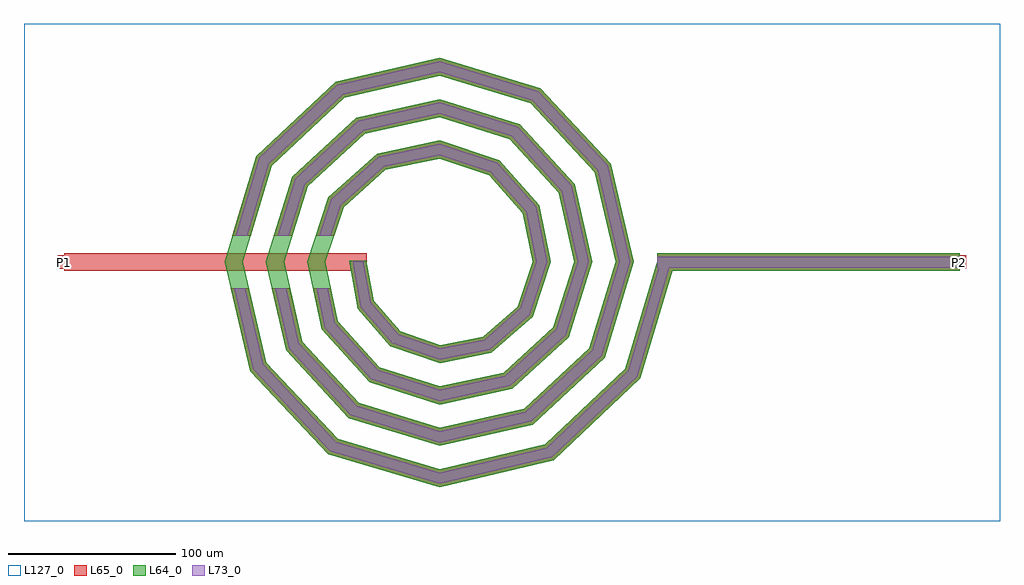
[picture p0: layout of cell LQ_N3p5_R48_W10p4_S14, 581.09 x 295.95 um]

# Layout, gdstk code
import gdstk
lib = gdstk.Library(unit=1e-6, precision=1e-09)
def R(c, l, rs):  # rectangles x0, y0, x1, y1
    for r in rs: c.add(gdstk.rectangle(r[:2], r[2:], *l))
def P(c, l, *ps):  # polygons
    for p in ps: c.add(gdstk.Polygon(p, *l))
L64_0 = (64, 0)
L65_0 = (65, 0)
L73_0 = (73, 0)
L127_0 = (127, 0)

lq_n3p5_r48_w10p4_s14 = lib.new_cell('LQ_N3p5_R48_W10p4_S14')
R(lq_n3p5_r48_w10p4_s14, L64_0, [(129.733,-5.2,309.734,5.2)])
P(lq_n3p5_r48_w10p4_s14, L64_0, [(-38.974,-22.972),(-23.308,-41.154),(0.377,-49.35),(26.017,-44.337),(46.474,-26.427),(55.518,0.339),(49.697,29.071),(29.54,51.8),(0.308,61.686),(-32.13,55.053),(-57.128,32.648),(-67.855,0.282),(-60.408,-35.193),(-35.753,-62.459),(0.26,-74.024),(38.26,-65.761),(67.792,-38.855),(80.194,0.241),(71.113,41.329),(41.954,73.127),(0.225,86.363),(-44.401,76.464),(-78.463,45.052),(-92.533,0.211),(-81.814,-47.474),(-48.148,-83.799),(0.198,-98.703),(50.548,-87.163),(89.136,-51.243),(104.872,0.187),(92.511,53.624),(54.336,94.475),(0.177,111.042),(-56.7,97.859),(-99.813,57.429),(-117.212,0.168),(-103.207,-59.778),(-60.521,-105.152),(0.16,-123.382),(62.856,-108.554),(110.492,-63.613),(129.951,1.489),(139.916,-1.489),(119.658,-69.264),(67.964,-118.033),(0.16,-134.145),(-66.185,-114.31),(-112.693,-64.872),(-127.974,0.168),(-108.962,63.107),(-61.779,107.354),(0.177,121.804),(60.03,103.614),(102.015,58.686),(115.634,0.187),(98.265,-56.954),(55.592,-96.676),(0.198,-109.463),(-53.878,-92.915),(-91.339,-52.496),(-103.293,0.211),(-87.565,50.804),(-49.399,86.002),(0.225,97.122),(47.732,82.214),(80.665,46.3),(90.951,0.241),(76.861,-44.661),(43.199,-75.33),(0.26,-84.78),(-41.593,-71.507),(-69.996,-40.096),(-78.609,0.282),(-66.151,38.527),(-36.989,64.664),(0.308,72.438),(35.465,60.793),(59.334,33.878),(66.266,0.339),(55.431,-32.408),(30.761,-54.006),(0.377,-60.094),(-29.357,-50.065),(-48.683,-27.636),(-53.664,0.954),(-43.44,0.954)])
R(lq_n3p5_r48_w10p4_s14, L65_0, [(-223.352,-5.2,-43.352,5.2), (129.733,-5.2,309.734,5.2), (-227.352,-4,-219.352,4), (305.734,-4,313.734,4)])
P(lq_n3p5_r48_w10p4_s14, L65_0, [(-103.207,-59.778),(-60.522,-105.152),(0.16,-123.382),(62.856,-108.554),(110.492,-63.613),(129.951,1.489),(139.916,-1.489),(119.658,-69.264),(67.964,-118.033),(0.16,-134.145),(-66.185,-114.31),(-112.693,-64.872),(-124.27,-15.6),(-113.586,-15.6)],
  [(-81.814,-47.474),(-48.148,-83.799),(0.198,-98.703),(50.548,-87.163),(89.137,-51.243),(104.872,0.187),(92.511,53.624),(54.336,94.475),(0.177,111.042),(-56.7,97.859),(-99.813,57.429),(-112.449,15.6),(-123.313,15.6),(-108.962,63.107),(-61.78,107.354),(0.177,121.804),(60.03,103.614),(102.015,58.686),(115.634,0.187),(98.265,-56.954),(55.592,-96.676),(0.198,-109.463),(-53.879,-92.915),(-91.339,-52.496),(-99.707,-15.6),(-89.043,-15.6)],
  [(-60.408,-35.193),(-35.753,-62.46),(0.26,-74.024),(38.26,-65.761),(67.792,-38.855),(80.194,0.241),(71.113,41.329),(41.954,73.127),(0.225,86.363),(-44.401,76.464),(-78.463,45.052),(-87.618,15.6),(-98.509,15.6),(-87.565,50.804),(-49.399,86.002),(0.225,97.122),(47.732,82.214),(80.665,46.3),(90.951,0.241),(76.861,-44.661),(43.199,-75.33),(0.26,-84.78),(-41.593,-71.507),(-69.996,-40.096),(-75.222,-15.6),(-64.588,-15.6)],
  [(-23.308,-41.154),(0.377,-49.35),(26.018,-44.337),(46.475,-26.427),(55.518,0.339),(49.697,29.071),(29.54,51.8),(0.308,61.686),(-32.13,55.053),(-57.128,32.648),(-62.682,15.6),(-73.62,15.6),(-66.151,38.527),(-36.989,64.664),(0.308,72.438),(35.465,60.793),(59.334,33.878),(66.266,0.339),(55.431,-32.408),(30.761,-54.007),(0.377,-60.094),(-29.357,-50.065),(-48.683,-27.637),(-53.664,0.954),(-43.44,0.954),(-38.974,-22.972)])
R(lq_n3p5_r48_w10p4_s14, L73_0, [(129.733,-3.2,309.734,3.2)])
P(lq_n3p5_r48_w10p4_s14, L73_0, [(-105.031,-60.758),(-61.611,-106.913),(0.099,-125.452),(63.838,-110.377),(112.255,-64.7),(131.868,0.916),(137.999,0.916),(117.895,-68.177),(66.982,-116.21),(0.099,-132.075),(-65.096,-112.549),(-110.869,-63.892),(-122.215,-15.6),(-115.641,-15.6)],
  [(-83.645,-48.439),(-49.25,-85.552),(0.122,-100.772),(51.518,-88.992),(90.892,-52.341),(106.942,0.115),(94.339,54.597),(55.431,96.232),(0.109,113.112),(-57.677,99.685),(-101.573,58.521),(-114.538,15.6),(-121.224,15.6),(-107.203,62.015),(-60.803,105.528),(0.109,119.735),(58.935,101.856),(100.187,57.713),(113.564,0.115),(96.51,-55.855),(54.622,-94.847),(0.122,-107.394),(-52.776,-91.162),(-89.507,-51.53),(-97.656,-15.6),(-91.093,-15.6)],
  [(-62.252,-36.136),(-36.876,-64.199),(0.16,-76.093),(39.21,-67.601),(69.536,-39.971),(82.263,0.149),(72.95,42.285),(43.065,74.874),(0.139,88.432),(-45.362,78.298),(-80.213,46.158),(-89.712,15.6),(-96.414,15.6),(-85.815,49.698),(-48.438,84.167),(0.139,95.053),(46.621,80.466),(78.828,45.344),(88.883,0.149),(75.117,-43.545),(42.249,-73.49),(0.16,-82.712),(-40.47,-69.767),(-68.152,-39.153),(-73.177,-15.6),(-66.633,-15.6)],
  [(-24.471,-42.867),(0.232,-51.416),(26.93,-46.197),(48.197,-27.577),(57.585,0.209),(51.55,29.995),(30.68,53.529),(0.189,63.754),(-33.064,56.902),(-58.864,33.779),(-64.785,15.6),(-71.516,15.6),(-64.416,37.397),(-36.055,62.816),(0.189,70.37),(34.326,59.063),(57.481,32.954),(64.199,0.209),(53.709,-31.258),(29.849,-52.147),(0.232,-58.028),(-28.194,-48.351),(-46.816,-26.74),(-51.697,0.587),(-45.406,0.587),(-40.841,-23.869)])
R(lq_n3p5_r48_w10p4_s14, L127_0, [(-247.352,-154.145,333.734,141.804)])
lq_n3p5_r48_w10p4_s14.add(gdstk.Label('P2', (309.734,0), layer=65, texttype=0))
lq_n3p5_r48_w10p4_s14.add(gdstk.Label('P1', (-223.352,0), layer=65, texttype=0))
lq_n3p5_r48_w10p4_s14.add(gdstk.Label('P2', (313.734,0), layer=145, texttype=0))
lq_n3p5_r48_w10p4_s14.add(gdstk.Label('P1', (-227.352,0), layer=145, texttype=0))

lib.write_gds('LQ_N3p5_R48_W10p4_S14.gds')
